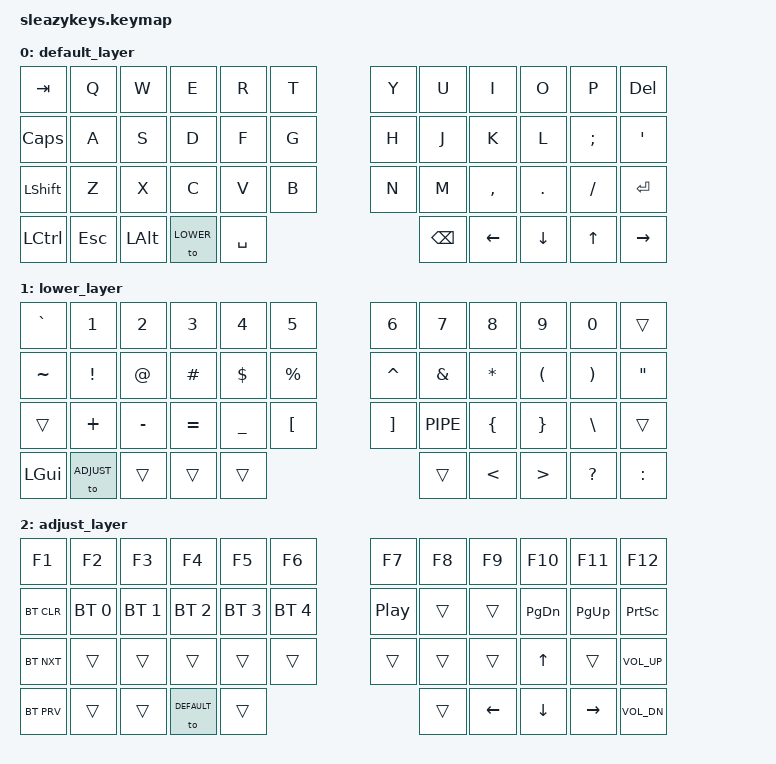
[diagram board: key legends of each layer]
/*
 * Copyright (c) 2020 The ZMK Contributors
 *
 * SPDX-License-Identifier: MIT
 */

 #include <behaviors.dtsi>
 #include <dt-bindings/zmk/keys.h>
 #include <dt-bindings/zmk/bt.h>

 #define DEFAULT 0
 #define LOWER  1
 #define ADJUST 2

/ {
       keymap {
              compatible = "zmk,keymap";

              default_layer {
 // ---------------------------------------------------------------------------------------------------------------------------------
 // |  TAB   |   Q    |   W    |   E    |   R    |   T    |                    |   Y    |   U    |   I    |   O    |   P    |  DEL   |
 // |  CAPS  |   A    |   S    |   D    |   F    |   G    |                    |   H    |   J    |   K    |   L    |   ;    |   '    |
 // |  SHIFT |   Z    |   X    |   C    |   V    |   B    |                    |   N    |   M    |   ,    |   .    |   /    |  RET   |
 // |  CTRL  |  ESC   |  ALT   | LOWER  | SPACE  |                                      |  BSPC  |  LEFT  |  DOWN  |  UP    |  RIGHT |
                     bindings = <
       &kp TAB    &kp Q   &kp W    &kp E    &kp R     &kp T                    &kp Y     &kp U     &kp I     &kp O      &kp P     &kp DEL
       &kp CAPS   &kp A   &kp S    &kp D    &kp F     &kp G                    &kp H     &kp J     &kp K     &kp L      &kp SEMI  &kp SQT
       &kp LSHFT  &kp Z   &kp X    &kp C    &kp V     &kp B                    &kp N     &kp M     &kp COMMA &kp PERIOD &kp SLASH &kp RET
       &kp LCTRL  &kp ESC &kp LALT &to LOWER &kp SPACE                                    &kp BSPC &kp LEFT  &kp DOWN   &kp UP    &kp RIGHT
                     >;
              };
              lower_layer {
 // ---------------------------------------------------------------------------------------------------------------------------------
 // |  GRAVE |  1     |  2     |  3     |  4     |  5     |                    |  6     |  7     |  8     |  9     |  0     |        |
 // |    ~   |  !     |  @     |  #     |  $     |  %     |                    |  ^     |  &     |  *     |  (     |  )     | "      |
 // |        |  +     |  -     |  =     |    _   |    [   |                    |  ]     |  |     |   {    | }      |  \     |        |
 // |  LGUI  | ADJUST |        |        |        |                                      |        |   <    |   >    |  ?     |  :     |
                     bindings = <
       &kp GRAVE  &kp N1     &kp N2    &kp N3     &kp N4     &kp N5            &kp N6    &kp N7   &kp N8    &kp N9   &kp N0    &trans
       &kp TILDE  &kp EXCL   &kp AT    &kp HASH   &kp DLLR   &kp PRCNT         &kp CARET &kp AMPS &kp ASTRK &kp LPAR &kp RPAR  &kp DQT
       &trans     &kp PLUS   &kp MINUS &kp EQUAL  &kp UNDER  &kp LBKT          &kp RBKT  &PIPE    &kp LBRC  &kp RBRC &kp BSLH  &trans
       &kp LGUI   &to ADJUST &trans    &trans     &trans                                 &trans   &kp LT    &kp GT   &kp QMARK &kp COLON
                     >;
              };
              adjust_layer {
 // ---------------------------------------------------------------------------------------------------------------------------------
 // |   F1   |   F2   |   F3   |   F4   |   F5   |   F6   |                    |   F7   |  F8    |  F9    | F10    |  F11   |  F12   |
 // | BT_CLR | BT_0   | BT_1   | BT_2   | BT_3   | BT_4   |                    |  PLAY  |        |        | PG_DN  |  PG_UP |  PSCRN |
 // | BT_NXT |        |        |        |        |        |                    |        |        |        | UP     |        |  VOL+  |
 // | BT_PRV |        |        | DEFAULT|        |                                      |        | LEFT   | DOWN   | RIGHT  |  VOL-  |
                     bindings = <
       &kp F1      &kp F2       &kp F3       &kp F4       &kp F5        &kp F6          &kp F7   &kp F8    &kp F9     &kp F10    &kp F11    &kp F12
       &bt BT_CLR  &bt BT_SEL 0 &bt BT_SEL 1 &bt BT_SEL 2 &bt BT_SEL 3  &bt BT_SEL 4    &kp C_PP &trans    &trans     &kp PG_DN  &kp PG_UP  &kp PSCRN
       &bt BT_NXT  &trans       &trans       &trans       &trans        &trans          &trans   &trans    &trans     &kp UP     &trans     &kp C_VOL_UP
       &bt BT_PRV  &trans       &trans       &to DEFAULT  &trans                                 &trans    &kp LEFT   &kp DOWN   &kp RIGHT  &kp C_VOL_DN
                     >;
              };
       };
};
